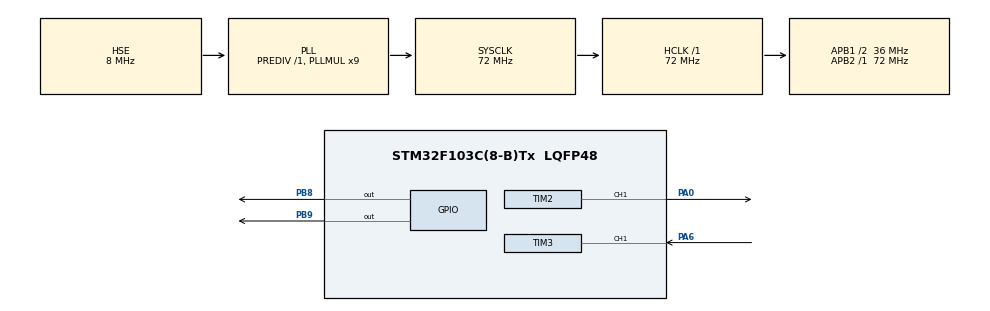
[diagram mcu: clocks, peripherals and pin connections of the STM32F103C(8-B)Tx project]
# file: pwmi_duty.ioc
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Mcu.Family=STM32F1
Mcu.Name=STM32F103C(8-B)Tx
Mcu.Package=LQFP48
NVIC.PriorityGroup=NVIC_PRIORITYGROUP_4
NVIC.TIM3_IRQn=true\:0\:0\:false\:false\:true\:true\:true\:true
PA0-WKUP.Signal=S_TIM2_CH1_ETR
PA13.Mode=Serial_Wire
PA13.Signal=SYS_JTMS-SWDIO
PA14.Mode=Serial_Wire
PA14.Signal=SYS_JTCK-SWCLK
PA6.Signal=S_TIM3_CH1
PB8.GPIO_ModeDefaultOutputPP=GPIO_MODE_OUTPUT_OD
PB8.GPIO_PuPd=GPIO_NOPULL
PB8.Signal=GPIO_Output
PB9.GPIO_ModeDefaultOutputPP=GPIO_MODE_OUTPUT_OD
PB9.GPIO_PuPd=GPIO_NOPULL
PB9.Signal=GPIO_Output
PD0-OSC_IN.Mode=HSE-External-Oscillator
PD0-OSC_IN.Signal=RCC_OSC_IN
PD1-OSC_OUT.Mode=HSE-External-Oscillator
PD1-OSC_OUT.Signal=RCC_OSC_OUT
ProjectManager.HeapSize=0x200
ProjectManager.StackSize=0x400
ProjectManager.TargetToolchain=STM32CubeIDE
RCC.AHBFreq_Value=72000000
RCC.APB1CLKDivider=RCC_HCLK_DIV2
RCC.APB1Freq_Value=36000000
RCC.APB1TimFreq_Value=72000000
RCC.APB2Freq_Value=72000000
RCC.APB2TimFreq_Value=72000000
RCC.HCLKFreq_Value=72000000
RCC.PLLMUL=RCC_PLL_MUL9
RCC.PLLSourceVirtual=RCC_PLLSOURCE_HSE
RCC.SYSCLKFreq_VALUE=72000000
RCC.SYSCLKSource=RCC_SYSCLKSOURCE_PLLCLK
RCC.USBFreq_Value=72000000
SH.S_TIM2_CH1_ETR.0=TIM2_CH1,PWM Generation1 CH1
SH.S_TIM3_CH1.0=TIM3_CH1,Input_Capture1_from_TI1
SH.S_TIM3_CH1.1=TIM3_CH1,TriggerSource_TI1FP1
TIM2.Channel-PWM\ Generation1\ CH1=TIM_CHANNEL_1
TIM2.Period=100 - 1
TIM2.Prescaler=720 - 1
TIM2.Pulse-PWM\ Generation1\ CH1=50
TIM3.AutoReloadPreload=TIM_AUTORELOAD_PRELOAD_ENABLE
TIM3.Channel-Input_Capture1_from_TI1=TIM_CHANNEL_1
TIM3.Channel-Input_Capture2_from_TI1_63=TIM_CHANNEL_2
TIM3.ICPolarity_CH2=TIM_INPUTCHANNELPOLARITY_FALLING
TIM3.Prescaler=72
VP_TIM2_VS_ClockSourceINT.Mode=Internal
VP_TIM3_VS_ClockSourceINT.Mode=Internal
VP_TIM3_VS_ControllerModeReset.Mode=Reset Mode
VP_TIM3_VS_indirect_ch1.Mode=Input_Capture2_from_TI1_63
board=custom

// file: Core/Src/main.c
/* USER CODE BEGIN Header */
/**
  ******************************************************************************
  * @file           : main.c
  * @brief          : Main program body
  ******************************************************************************
  * @attention
  *
  * Copyright (c) 2026 STMicroelectronics.
  * All rights reserved.
  *
  * This software is licensed under terms that can be found in the LICENSE file
  * in the root directory of this software component.
  * If no LICENSE file comes with this software, it is provided AS-IS.
  *
  ******************************************************************************
  */
/* USER CODE END Header */
#include "main.h"
#include "tim.h"
#include "gpio.h"

/* USER CODE BEGIN PV */
int32_t freq;
uint32_t duty;
uint32_t capture;
void HAL_TIM_IC_CaptureCallback(TIM_HandleTypeDef *htim)
{
	if(htim->Instance == TIM3)
	{
		if (htim->Channel == HAL_TIM_ACTIVE_CHANNEL_1)
		{
			capture = HAL_TIM_ReadCapturedValue(htim, TIM_CHANNEL_1) + 1;
			freq = 1000000/capture;
		}
		else if (htim->Channel == HAL_TIM_ACTIVE_CHANNEL_2)
		{
			uint32_t capture2 = HAL_TIM_ReadCapturedValue(htim, TIM_CHANNEL_2) + 1;
			duty = capture2 * 100 / capture;
		}

	}
}
/* USER CODE END PV */

void SystemClock_Config(void);

int main(void)
{

  /* MCU Configuration--------------------------------------------------------*/

  /* Reset of all peripherals, Initializes the Flash interface and the Systick. */
  HAL_Init();

  /* Configure the system clock */
  SystemClock_Config();

  /* Initialize all configured peripherals */
  MX_GPIO_Init();
  MX_TIM2_Init();
  MX_TIM3_Init();
  /* USER CODE BEGIN 2 */
  	  OLED_Init();
  	  HAL_TIM_PWM_Start(&htim2, TIM_CHANNEL_1);
  	  HAL_TIM_IC_Start_IT(&htim3, TIM_CHANNEL_1);
  	  HAL_TIM_IC_Start_IT(&htim3, TIM_CHANNEL_2);
  	  OLED_Clear();
  	  OLED_ShowString(1, 1, "Freq:000000Hz");
  	  OLED_ShowString(2, 1, "Duty:000%");
  /* USER CODE END 2 */

  /* Infinite loop */
  /* USER CODE BEGIN WHILE */
  while (1)
  {
	  OLED_ShowSignedNum(1, 6, freq, 5);
	  OLED_ShowSignedNum(2, 6, duty, 2);
    /* USER CODE END WHILE */

  }
}

void SystemClock_Config(void)
{
  RCC_OscInitTypeDef RCC_OscInitStruct = {0};
  RCC_ClkInitTypeDef RCC_ClkInitStruct = {0};

  /** Initializes the RCC Oscillators according to the specified parameters
  * in the RCC_OscInitTypeDef structure.
  */
  RCC_OscInitStruct.OscillatorType = RCC_OSCILLATORTYPE_HSE;
  RCC_OscInitStruct.HSEState = RCC_HSE_ON;
  RCC_OscInitStruct.HSEPredivValue = RCC_HSE_PREDIV_DIV1;
  RCC_OscInitStruct.HSIState = RCC_HSI_ON;
  RCC_OscInitStruct.PLL.PLLState = RCC_PLL_ON;
  RCC_OscInitStruct.PLL.PLLSource = RCC_PLLSOURCE_HSE;
  RCC_OscInitStruct.PLL.PLLMUL = RCC_PLL_MUL9;
  if (HAL_RCC_OscConfig(&RCC_OscInitStruct) != HAL_OK)
  {
    Error_Handler();
  }

  /** Initializes the CPU, AHB and APB buses clocks
  */
  RCC_ClkInitStruct.ClockType = RCC_CLOCKTYPE_HCLK|RCC_CLOCKTYPE_SYSCLK
                              |RCC_CLOCKTYPE_PCLK1|RCC_CLOCKTYPE_PCLK2;
  RCC_ClkInitStruct.SYSCLKSource = RCC_SYSCLKSOURCE_PLLCLK;
  RCC_ClkInitStruct.AHBCLKDivider = RCC_SYSCLK_DIV1;
  RCC_ClkInitStruct.APB1CLKDivider = RCC_HCLK_DIV2;
  RCC_ClkInitStruct.APB2CLKDivider = RCC_HCLK_DIV1;

  if (HAL_RCC_ClockConfig(&RCC_ClkInitStruct, FLASH_LATENCY_2) != HAL_OK)
  {
    Error_Handler();
  }
}

void Error_Handler(void)
{
  __disable_irq();
  while (1)
  {
  }
}
